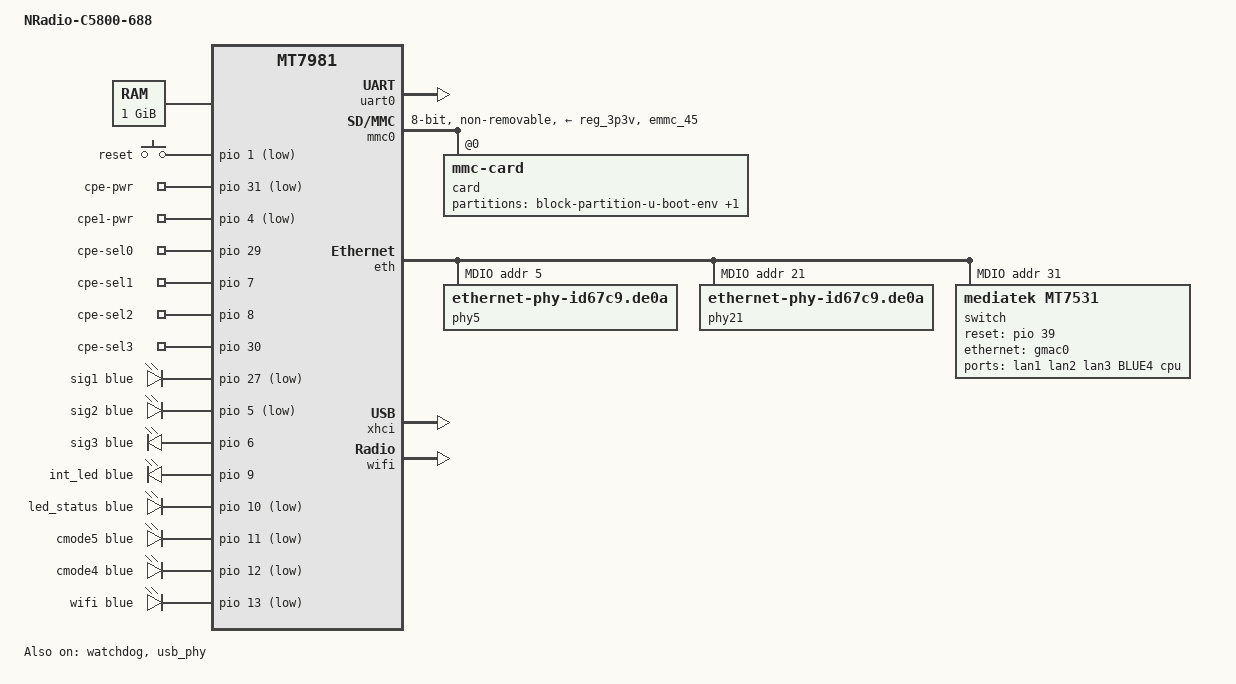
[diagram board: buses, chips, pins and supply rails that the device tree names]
// SPDX-License-Identifier: GPL-2.0-or-later OR MIT

/dts-v1/;

#include <dt-bindings/gpio/gpio.h>
#include <dt-bindings/input/input.h>
#include <dt-bindings/leds/common.h>

#include "mt7981b.dtsi"

/ {
	model = "NRadio-C5800-688";
	compatible = "nradio,c5800-688", "mediatek,mt7981";

	aliases {
		ethernet0 = &gmac0;
		led-boot = &led_status;
		led-failsafe = &led_status;
		led-running = &led_status;
		led-upgrade = &led_status;
		serial0 = &uart0;
	};

	chosen {
		stdout-path = "serial0:115200n8";
		bootargs = "console=ttyS0,115200n1 loglevel=8 earlycon=uart8250,mmio32,0x11002000 root=PARTLABEL=rootfs_2nd rootwait rootfstype=squashfs,f2fs";
	};

	memory@40000000 {
		reg = <0 0x40000000 0 0x40000000>;
		device_type = "memory";
	};

	gpio-keys {
		compatible = "gpio-keys";

		reset {
			label = "reset";
			linux,code = <KEY_RESTART>;
			gpios = <&pio 1 GPIO_ACTIVE_LOW>;
		};
	};

	gpio-export {
		compatible = "gpio-export";
		#size-cells = <0>;

		cpepower {
			gpio-export,name = "cpe-pwr";
			gpio-export,output = <0>;
			gpios = <&pio 31 GPIO_ACTIVE_LOW>;
		};

		cpepower2 {
			gpio-export,name = "cpe1-pwr";
			gpio-export,output = <0>;
			gpios = <&pio 4 GPIO_ACTIVE_LOW>;
		};

		cpesel0 {
			gpio-export,name = "cpe-sel0";
			gpio-export,output = <0>;
			gpios = <&pio 29 GPIO_ACTIVE_HIGH>;
		};

		cpesel1 {
			gpio-export,name = "cpe-sel1";
			gpio-export,output = <1>;
			gpios = <&pio 7 GPIO_ACTIVE_HIGH>;
		};

		cpesel2 {
			gpio-export,name = "cpe-sel2";
			gpio-export,output = <1>;
			gpios = <&pio 8 GPIO_ACTIVE_HIGH>;
		};

		cpesel3 {
			gpio-export,name = "cpe-sel3";
			gpio-export,output = <1>;
			gpios = <&pio 30 GPIO_ACTIVE_HIGH>;
		};
	};

	gpio-leds {
		compatible = "gpio-leds";

		sig1 {
			color = <LED_COLOR_ID_BLUE>;
			function = "sig1";
			gpios = <&pio 27 GPIO_ACTIVE_LOW>;
		};

		sig2 {
			color = <LED_COLOR_ID_BLUE>;
			function = "sig2";
			gpios = <&pio 5 GPIO_ACTIVE_LOW>;
		};

		sig3 {
			color = <LED_COLOR_ID_BLUE>;
			function = "sig3";
			gpios = <&pio 6 GPIO_ACTIVE_HIGH>;
		};

		int_led {
			color = <LED_COLOR_ID_BLUE>;
			function = LED_FUNCTION_INDICATOR;
			gpios = <&pio 9 GPIO_ACTIVE_HIGH>;
		};

		led_status: status {
			color = <LED_COLOR_ID_BLUE>;
			function = LED_FUNCTION_STATUS;
			gpios = <&pio 10 GPIO_ACTIVE_LOW>;
		};

		cmode5 {
			color = <LED_COLOR_ID_BLUE>;
			function = "cmode5";
			gpios = <&pio 11 GPIO_ACTIVE_LOW>;
		};

		cmode4 {
			color = <LED_COLOR_ID_BLUE>;
			function = "cmode4";
			gpios = <&pio 12 GPIO_ACTIVE_LOW>;
		};

		wifi {
			color = <LED_COLOR_ID_BLUE>;
			function = LED_FUNCTION_WLAN;
			gpios = <&pio 13 GPIO_ACTIVE_LOW>;
		};
	};
};

&uart0 {
	status = "okay";
};

&watchdog {
	status = "okay";
};

&mmc0 {
	#address-cells = <1>;
	#size-cells = <0>;
	pinctrl-names = "default", "state_uhs";
	pinctrl-0 = <&mmc0_pins_default>;
	pinctrl-1 = <&mmc0_pins_uhs>;
	bus-width = <8>;
	max-frequency = <52000000>;
	cap-mmc-highspeed;
	vmmc-supply = <&reg_3p3v>;
	non-removable;
	status = "okay";

	card@0 {
		compatible = "mmc-card";
		reg = <0>;

		block {
			compatible = "block-device";

			partitions {
				block-partition-u-boot-env {
					partname = "u-boot-env";

					nvmem-layout {
						compatible = "u-boot,env";
					};
				};

				block-partition-factory {
					partname = "factory";

					nvmem-layout {
						compatible = "fixed-layout";
						#address-cells = <1>;
						#size-cells = <1>;

						eeprom_factory_0: eeprom@0 {
							reg = <0x0 0x1000>;
						};
					};
				};
			};
		};
	};
};

&pio {
	mmc0_pins_default: mmc0-pins-default {
		mux {
			function = "flash";
			groups = "emmc_45";
		};
	};

	mmc0_pins_uhs: mmc0-pins-uhs {
		mux {
			function = "flash";
			groups = "emmc_45";
		};
	};
};

&eth {
	status = "okay";

	gmac0: mac@0 {
		compatible = "mediatek,eth-mac";
		reg = <0>;
		phy-mode = "2500base-x";

		fixed-link {
			speed = <2500>;
			full-duplex;
			pause;
		};
	};

	gmac1: mac@1 {
		compatible = "mediatek,eth-mac";
		reg = <1>;
		phy-mode = "2500base-x";
		phy-handle = <&phy21>;
	};

	mdio: mdio-bus {
		#address-cells = <1>;
		#size-cells = <0>;

		phy5: ethernet-phy@5 {
			compatible = "ethernet-phy-id67c9.de0a";
			reg = <5>;
			phy-mode = "2500base-x";
			reset-assert-us = <600>;
			reset-deassert-us = <20000>;
		};

		phy21: ethernet-phy@15 {
			compatible = "ethernet-phy-id67c9.de0a";
			reg = <21>;
			phy-mode = "2500base-x";
			reset-assert-us = <600>;
			reset-deassert-us = <20000>;
		};

		switch@1f {
			compatible = "mediatek,mt7531";
			reg = <31>;
			reset-gpios = <&pio 39 GPIO_ACTIVE_HIGH>;

			ports {
				#address-cells = <1>;
				#size-cells = <0>;

				port@1 {
					reg = <1>;
					label = "lan1";
				};

				port@2 {
					reg = <2>;
					label = "lan2";
				};

				port@3 {
					reg = <3>;
					label = "lan3";
				};

				port@5 {
					reg = <5>;
					label = "BLUE4";
					phy-mode = "2500base-x";
					phy-handle = <&phy5>;
				};

				port@6 {
					reg = <6>;
					label = "cpu";
					ethernet = <&gmac0>;
					phy-mode = "2500base-x";

					fixed-link {
						speed = <2500>;
						full-duplex;
						pause;
					};
				};
			};
		};
	};
};

&usb_phy {
	status = "okay";
};

&xhci {
	status = "okay";
};

&wifi {
	nvmem-cells = <&eeprom_factory_0>;
	nvmem-cell-names = "eeprom";
	status = "okay";
};
